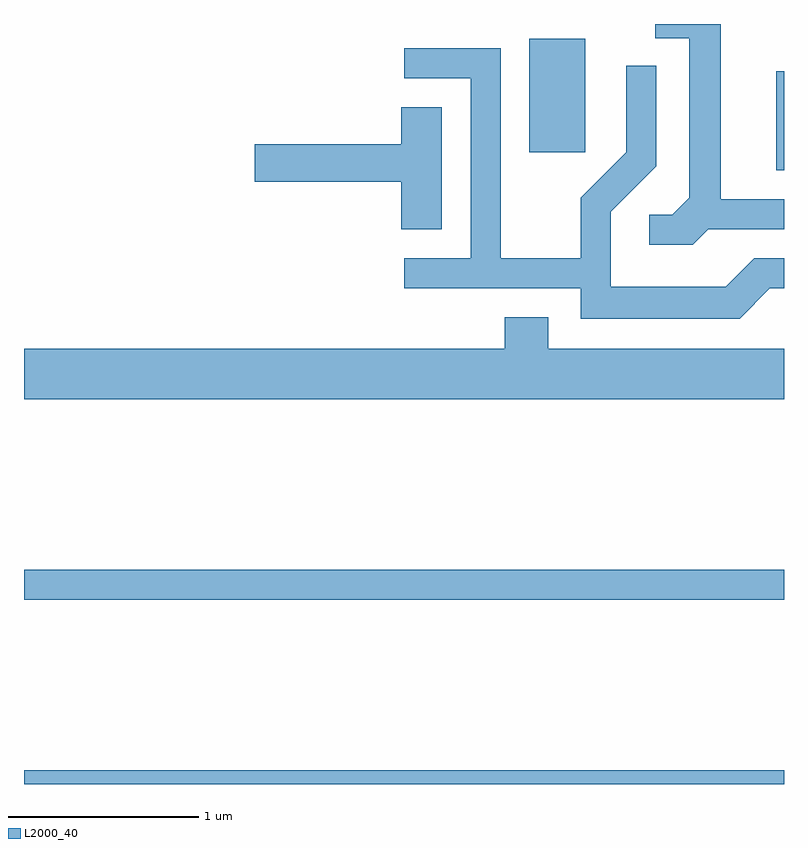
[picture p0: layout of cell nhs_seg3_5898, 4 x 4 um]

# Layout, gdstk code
import gdstk
lib = gdstk.Library(unit=1e-6, precision=1e-09)
def R(c, l, rs):  # rectangles x0, y0, x1, y1
    for r in rs: c.add(gdstk.rectangle(r[:2], r[2:], *l))
def P(c, l, *ps):  # polygons
    for p in ps: c.add(gdstk.Polygon(p, *l))
L2000_40 = (2000, 40)

nhs_seg3_5898 = lib.new_cell('nhs_seg3_5898')
R(nhs_seg3_5898, L2000_40, [(357.611,1223.892,361.611,1223.964), (357.611,1224.861,361.611,1225.019), (361.571,1227.121,361.611,1227.644), (360.271,1227.216,360.564,1227.814)])
P(nhs_seg3_5898, L2000_40, [(361.212,1226.811),(361.611,1226.811),(361.611,1226.969),(361.279,1226.969),(361.279,1227.892),(360.933,1227.892),(360.933,1227.816),(361.111,1227.816),(361.111,1226.977),(361.024,1226.889),(360.903,1226.889),(360.903,1226.731),(361.132,1226.731)],
  [(361.537,1226.501),(361.611,1226.501),(361.611,1226.659),(361.454,1226.659),(361.304,1226.509),(360.699,1226.509),(360.699,1226.904),(360.939,1227.144),(360.939,1227.673),(360.781,1227.673),(360.781,1227.217),(360.541,1226.977),(360.541,1226.659),(360.119,1226.659),(360.119,1227.764),(359.613,1227.764),(359.613,1227.606),(359.961,1227.606),(359.961,1226.659),(359.613,1226.659),(359.613,1226.501),(360.541,1226.501),(360.541,1226.341),(361.377,1226.341)],
  [(359.809,1227.454),(359.596,1227.454),(359.596,1227.259),(358.826,1227.259),(358.826,1227.061),(359.596,1227.061),(359.596,1226.811),(359.809,1226.811)],
  [(361.611,1226.184),(360.369,1226.184),(360.369,1226.349),(360.141,1226.349),(360.141,1226.184),(357.611,1226.184),(357.611,1225.916),(361.611,1225.916)])

lib.write_gds('nhs_seg3_5898.gds')
